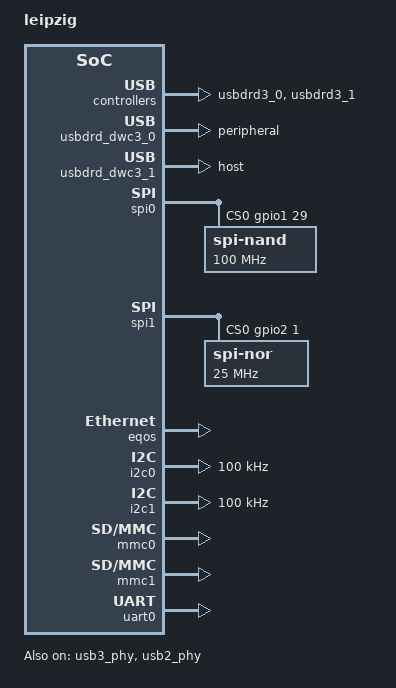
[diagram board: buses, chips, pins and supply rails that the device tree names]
// SPDX-License-Identifier: GPL-2.0+
/*
 * Copyright (C) 2021 VATICS Inc.
 */

/dts-v1/;
#include "leipzig.dtsi"
#include "leipzig-pinctrl.dtsi"

/ {
	model = "leipzig";
	compatible = "leipzig";

};

&custom_config {
	u-boot,mmc-env-offset = <0x2200000>; /* 34MB, sector 69632 */
};

&gpio0 {
	status = "okay";
};

&gpio1 {
	status = "okay";
};

&gpio2 {
	status = "okay";
};

/* usb 3.0 */
&usb3_phy {
	status = "okay";
};

&usbdrd3_0 {
	status = "okay";
};

&usbdrd_dwc3_0 {
	status = "okay";
	dr_mode = "peripheral";
};

/* usb 2.0 only */
&usb2_phy {
	status = "okay";
};

&usbdrd3_1 {
	status = "okay";
};

&usbdrd_dwc3_1 {
	status = "okay";
	dr_mode = "host";
};

&spi0 {
	status = "okay";
	rx-sample-delay-ns = <10>;
	cs-gpios = <&gpio1 29 0>;
	pinctrl-names = "default";
	pinctrl-0 = <&ssic0_quad_pins>;
	spi-nand@0 {
		compatible = "spi-nand";
		spi-rx-bus-width = <2>;
		spi-tx-bus-width = <2>;
		spi-max-frequency = <100000000>;
		reg = <0>;
		spi-cpol;
		spi-cpha;
	};
};

&spi1 {
	status = "okay";
	rx-sample-delay-ns = <0>;
	cs-gpios = <&gpio2 1 0>;
	pinctrl-names = "default";
	pinctrl-0 = <&ssic1_pins>;
	spi-nor@0 {
		compatible = "jedec,spi-nor";
		spi-max-frequency = <25000000>;
		reg = <0>;
		spi-cpol;
		spi-cpha;
	};
};

&eqos {
	status = "okay";
	pinctrl-names = "default";
	pinctrl-0 = <&eqosc_pins>;
};

&i2c0 {
	status = "okay";
	clock-frequency = <100000>;
	pinctrl-names = "default";
	pinctrl-0 = <&i2c0_pins>;
};

&i2c1 {
	status = "okay";
	clock-frequency = <100000>;
	pinctrl-names = "default";
	pinctrl-0 = <&i2c1_p1_pins>;
};

&i2c2 {
	status = "disabled";
	clock-frequency = <100000>;
	pinctrl-names = "default";
	pinctrl-0 = <&i2c2_p1_pins>;
};

&mmc0 {
	status = "okay";
	phy-clkdl = <0>;
};

&mmc1 {
	status = "okay";
	phy-clkdl = <0>;
};

&uart0 {
	status = "okay";
	pinctrl-names = "default";
	pinctrl-0 = <&uart0_p0_s0_pins>;
};
